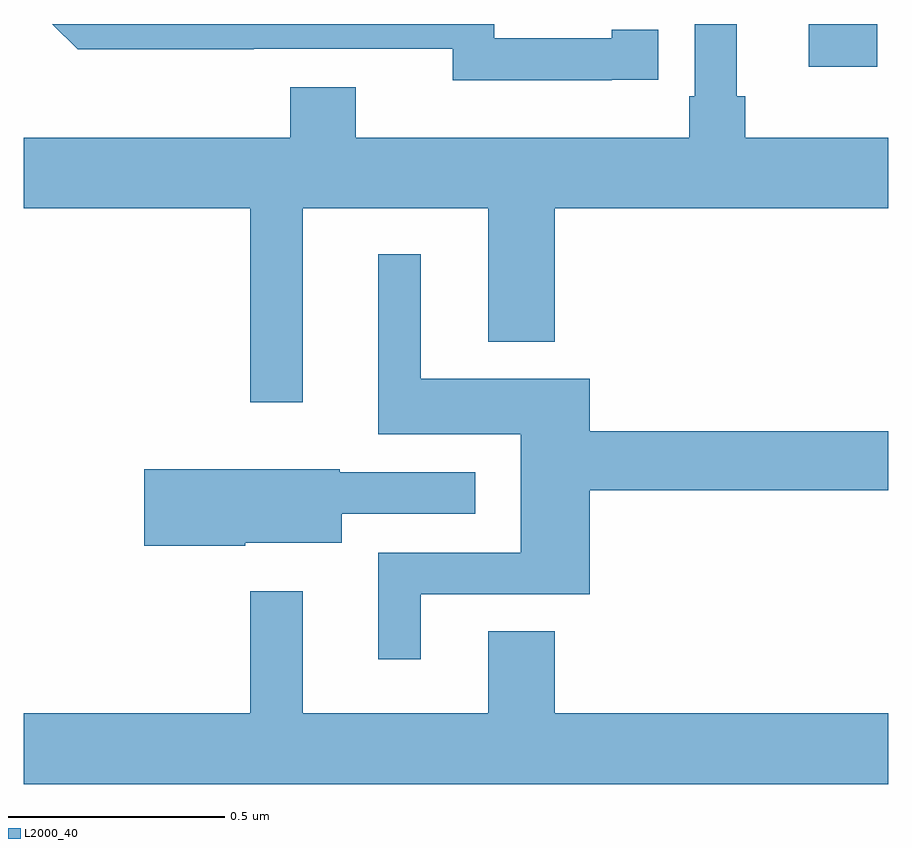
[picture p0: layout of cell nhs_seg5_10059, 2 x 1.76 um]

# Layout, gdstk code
import gdstk
lib = gdstk.Library(unit=1e-6, precision=1e-09)
def R(c, l, rs):  # rectangles x0, y0, x1, y1
    for r in rs: c.add(gdstk.rectangle(r[:2], r[2:], *l))
def P(c, l, *ps):  # polygons
    for p in ps: c.add(gdstk.Polygon(p, *l))
L2000_40 = (2000, 40)

nhs_seg5_10059 = lib.new_cell('nhs_seg5_10059')
R(nhs_seg5_10059, L2000_40, [(242.816,911.7,242.975,911.799)])
P(nhs_seg5_10059, L2000_40, [(241.645,911.372),(242.075,911.372),(242.075,911.063),(242.228,911.063),(242.228,911.372),(243,911.372),(243,911.536),(242.669,911.536),(242.669,911.632),(242.65,911.632),(242.65,911.799),(242.553,911.799),(242.553,911.632),(242.54,911.632),(242.54,911.536),(241.768,911.536),(241.768,911.653),(241.616,911.653),(241.616,911.536),(241,911.536),(241,911.372),(241.524,911.372),(241.524,910.923),(241.645,910.923)],
  [(242.36,911.67),(242.468,911.67),(242.468,911.786),(242.36,911.786),(242.36,911.766),(242.088,911.766),(242.088,911.799),(241.065,911.799),(241.124,911.741),(241.532,911.741),(241.532,911.742),(241.992,911.742),(241.992,911.669),(242.36,911.669)],
  [(241.918,910.479),(242.309,910.479),(242.309,910.72),(243,910.72),(243,910.856),(242.309,910.856),(242.309,910.978),(241.918,910.978),(241.918,911.266),(241.82,911.266),(241.82,910.85),(242.15,910.85),(242.15,910.575),(241.82,910.575),(241.82,910.329),(241.918,910.329)],
  [(241.512,910.598),(241.735,910.598),(241.735,910.665),(242.044,910.665),(242.044,910.761),(241.731,910.761),(241.731,910.769),(241.278,910.769),(241.278,910.591),(241.512,910.591)],
  [(243,910.204),(242.228,910.204),(242.228,910.394),(242.075,910.394),(242.075,910.204),(241.645,910.204),(241.645,910.486),(241.524,910.486),(241.524,910.204),(241,910.204),(241,910.04),(243,910.04)])

lib.write_gds('nhs_seg5_10059.gds')
